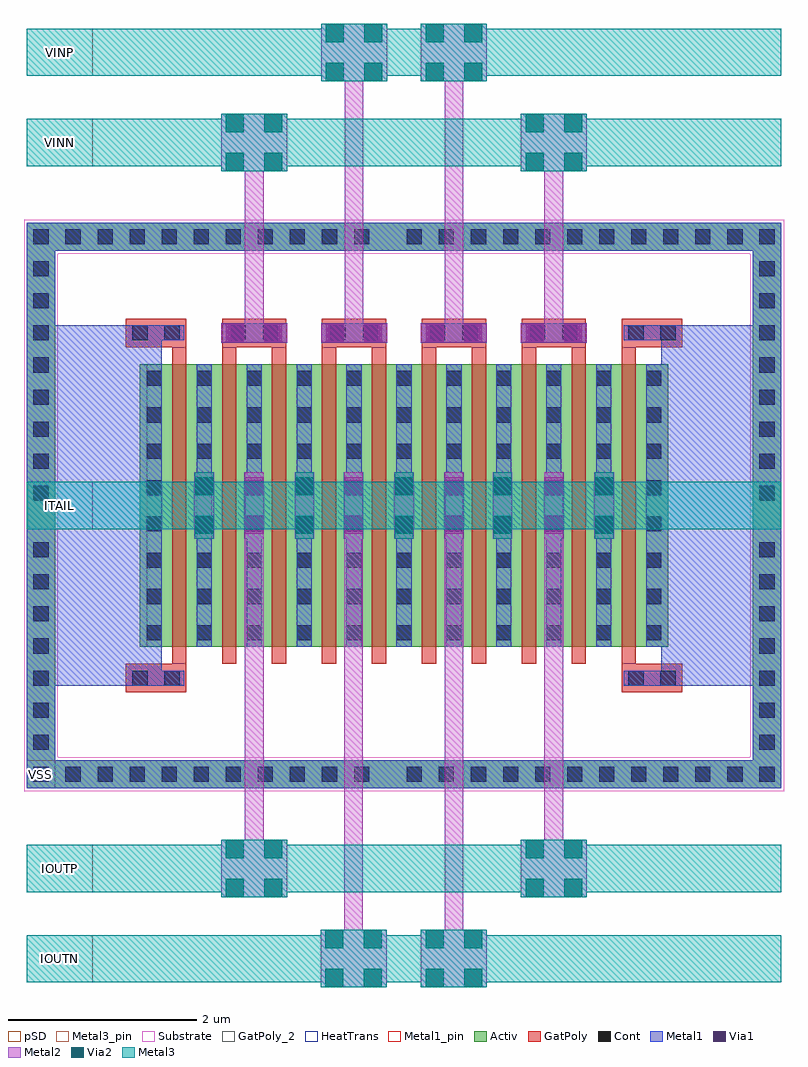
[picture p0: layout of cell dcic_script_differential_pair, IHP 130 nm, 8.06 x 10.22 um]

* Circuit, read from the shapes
.subckt dcic_script_differential_pair IOUTN IOUTP ITAIL VINN VINP VSS
XM1 ITAIL VSS VSS VSS sg13_lv_nmos w=3u l=0.15u m=2
XM2 IOUTP VINN ITAIL VSS sg13_lv_nmos w=3u l=0.15u m=4
XM3 IOUTN VINP ITAIL VSS sg13_lv_nmos w=3u l=0.15u m=4
.ends

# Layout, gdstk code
import gdstk
lib = gdstk.Library(unit=1e-6, precision=5e-09)
def R(c, l, rs):  # rectangles x0, y0, x1, y1
    for r in rs: c.add(gdstk.rectangle(r[:2], r[2:], *l))
def A(c, l, x, y, w, h, nx, ny, dx, dy):  # array of equal rectangles
    R(c, l, [(x+i*dx, y+j*dy, x+i*dx+w, y+j*dy+h) for i in range(nx) for j in range(ny)])
def P(c, l, *ps):  # polygons
    for p in ps: c.add(gdstk.Polygon(p, *l))
Activ = (1, 0)
GatPoly = (5, 0)
GatPoly_2 = (5, 2)
Cont = (6, 0)
Metal1 = (8, 0)
Metal1_pin = (8, 2)
Metal2 = (10, 0)
pSD = (14, 0)
Via1 = (19, 0)
Via2 = (29, 0)
Metal3 = (30, 0)
Metal3_pin = (30, 2)
Substrate = (40, 0)
HeatTrans = (51, 0)

nmos_1 = lib.new_cell('nmos$1')
A(nmos_1, Activ, 0, 0, 0.3, 0.3, 11, 1, 0.53, 0)
R(nmos_1, Activ, [(0,0,5.6,3)])
A(nmos_1, GatPoly, 0.34, -0.18, 0.15, 3.36, 10, 1, 0.53, 0)
R(nmos_1, GatPoly_2, [(0.34,-0.18,0.49,3.18)])
A(nmos_1, Cont, 0.07, 0.07, 0.16, 0.16, 11, 7, 0.53, 0.385)
A(nmos_1, Cont, 0.07, 2.77, 0.16, 0.16, 11, 1, 0.53, 0)
A(nmos_1, Metal1, 0.07, 0, 0.16, 3, 11, 1, 0.53, 0)
R(nmos_1, Metal1_pin, [(0.07,0,0.23,3), (0.6,0,0.76,3)])
A(nmos_1, HeatTrans, 0.34, -0.18, 0.15, 3.36, 10, 1, 0.53, 0)
nmos_1.add(gdstk.Label('nmos', (0.415,1.5), layer=63, texttype=0))
nmos_1.add(gdstk.Label('nmos', (0.415,1.5), layer=51, texttype=0))
nmos_1.add(gdstk.Label('nmos', (0.945,1.5), layer=51, texttype=0))
nmos_1.add(gdstk.Label('nmos', (1.475,1.5), layer=51, texttype=0))
nmos_1.add(gdstk.Label('nmos', (2.005,1.5), layer=51, texttype=0))
nmos_1.add(gdstk.Label('nmos', (2.535,1.5), layer=51, texttype=0))
nmos_1.add(gdstk.Label('nmos', (3.065,1.5), layer=51, texttype=0))
nmos_1.add(gdstk.Label('nmos', (3.595,1.5), layer=51, texttype=0))
nmos_1.add(gdstk.Label('nmos', (4.125,1.5), layer=51, texttype=0))
nmos_1.add(gdstk.Label('nmos', (4.655,1.5), layer=51, texttype=0))
nmos_1.add(gdstk.Label('nmos', (5.185,1.5), layer=51, texttype=0))

via_stack_1 = lib.new_cell('via_stack$1')
R(via_stack_1, GatPoly, [(-0.32,-0.15,0.32,0.15)])
R(via_stack_1, Cont, [(-0.25,-0.08,-0.09,0.08), (0.09,-0.08,0.25,0.08)])
R(via_stack_1, Metal1, [(-0.35,-0.105,0.35,0.105)])
R(via_stack_1, Metal2, [(-0.35,-0.1,0.35,0.1)])
R(via_stack_1, Via1, [(-0.3,-0.095,-0.11,0.095), (0.11,-0.095,0.3,0.095)])

via_stack = lib.new_cell('via_stack')
R(via_stack, Metal1, [(-0.105,-0.35,0.105,0.35)])
R(via_stack, Metal2, [(-0.1,-0.35,0.1,0.35)])
R(via_stack, Via1, [(-0.095,-0.3,0.095,-0.11), (-0.095,0.11,0.095,0.3)])
R(via_stack, Via2, [(-0.095,-0.3,0.095,-0.11), (-0.095,0.11,0.095,0.3)])
R(via_stack, Metal3, [(-0.1,-0.35,0.1,0.35)])

via_stack_3 = lib.new_cell('via_stack$3')
R(via_stack_3, GatPoly, [(-0.32,-0.15,0.32,0.15)])
R(via_stack_3, Cont, [(-0.25,-0.08,-0.09,0.08), (0.09,-0.08,0.25,0.08)])
R(via_stack_3, Metal1, [(-0.3,-0.08,0.3,0.08)])

via_stack_2 = lib.new_cell('via_stack$2')
R(via_stack_2, Metal1, [(-0.105,-0.35,0.105,0.35)])
R(via_stack_2, Metal2, [(-0.1,-0.35,0.1,0.35)])
R(via_stack_2, Via1, [(-0.095,-0.3,0.095,-0.11), (-0.095,0.11,0.095,0.3)])

guard_ring_1 = lib.new_cell('guard_ring$1')
R(guard_ring_1, Activ, [(-4,-2.7,-3.7,2.7), (3.7,-2.7,4,2.7), (-4,2.7,4,3)])
P(guard_ring_1, Activ, [(-4,-3),(-4,2.7),(-3.7,2.7),(-3.7,-2.7),(3.7,-2.7),(3.7,2.7),(-4,2.7),(-4,3),(4,3),(4,-3)])
A(guard_ring_1, Cont, -3.93, -2.93, 0.16, 0.16, 11, 2, 0.34, 5.7)
A(guard_ring_1, Cont, 0.03, -2.93, 0.16, 0.16, 12, 2, 0.34, 5.7)
A(guard_ring_1, Cont, -3.93, -2.59, 0.16, 0.16, 1, 7, 0, 0.34)
A(guard_ring_1, Cont, 3.77, -2.59, 0.16, 0.16, 1, 7, 0, 0.34)
A(guard_ring_1, Cont, -3.93, 0.05, 0.16, 0.16, 1, 8, 0, 0.34)
A(guard_ring_1, Cont, 3.77, 0.05, 0.16, 0.16, 1, 8, 0, 0.34)
R(guard_ring_1, Metal1, [(-4,-3,4,-2.7), (-4,-2.7,-3.7,2.7), (3.7,-2.7,4,2.7), (-4,2.7,4,3)])
R(guard_ring_1, pSD, [(-4.03,-2.67,-3.67,2.67), (3.67,-2.67,4.03,2.67), (-4.03,2.67,4.03,3.03)])
P(guard_ring_1, pSD, [(-4.03,-3.03),(-4.03,2.67),(-3.67,2.67),(-3.67,-2.67),(3.67,-2.67),(3.67,2.67),(-4.03,2.67),(-4.03,3.03),(4.03,3.03),(4.03,-3.03)])
R(guard_ring_1, Substrate, [(-4.03,-2.67,-3.67,2.67), (3.67,-2.67,4.03,2.67), (-4.03,2.67,4.03,3.03)])
P(guard_ring_1, Substrate, [(-4.03,-3.03),(-4.03,2.67),(-3.67,2.67),(-3.67,-2.67),(3.67,-2.67),(3.67,2.67),(-4.03,2.67),(-4.03,3.03),(4.03,3.03),(4.03,-3.03)])
guard_ring_1.add(gdstk.Label('sub!', (0,-2.85), layer=63, texttype=0))

via_stack_4 = lib.new_cell('via_stack$4')
R(via_stack_4, Metal2, [(-0.35,-0.305,0.35,0.305)])
R(via_stack_4, Via2, [(-0.3,-0.3,-0.11,-0.11), (0.11,-0.3,0.3,-0.11), (-0.3,0.11,-0.11,0.3), (0.11,0.11,0.3,0.3)])
R(via_stack_4, Metal3, [(-0.35,-0.305,0.35,0.305)])

dcic_script_differential = lib.new_cell('dcic_script_differential_pair')
R(dcic_script_differential, GatPoly, [(-0.25,2.695,-0.23,2.995), (0.41,2.695,0.43,2.995), (0.81,2.695,0.83,2.995), (1.47,2.695,1.49,2.995), (1.87,2.695,1.89,2.995), (2.53,2.695,2.55,2.995), (2.93,2.695,2.95,2.995), (3.59,2.695,3.61,2.995)])
R(dcic_script_differential, Metal1, [(-2.02,-0.895,-0.89,2.925), (4.41,-0.895,5.38,2.925)])
R(dcic_script_differential, Metal1_pin, [(-2.32,-1.985,-2.02,-1.685)])
R(dcic_script_differential, Metal2, [(-0.545,0.665,-0.335,1.365), (0.52,0.665,0.73,1.365), (1.575,0.665,1.785,1.365), (2.62,0.665,2.83,1.365), (3.7,0.665,3.91,1.365)])
A(dcic_script_differential, Metal3_pin, -2.32, -3.085, 0.7, 0.5, 1, 3, 0, 3.85)
R(dcic_script_differential, Metal3_pin, [(-2.32,-4.04,-1.62,-3.54), (-2.32,5.57,-1.62,6.07)])
dcic_script_differential.add(gdstk.FlexPath([(0.09,0.665),(0.09,-3.14)], 0.2, ends="flush", simple_path=True, layer=10, datatype=0))  # Metal2
dcic_script_differential.add(gdstk.FlexPath([(3.27,0.665),(3.27,-3.14)], 0.2, ends="flush", simple_path=True, layer=10, datatype=0))  # Metal2
dcic_script_differential.add(gdstk.FlexPath([(1.145,0.665),(1.145,-4.095)], 0.2, ends="flush", simple_path=True, layer=10, datatype=0))  # Metal2
dcic_script_differential.add(gdstk.FlexPath([(0.09,2.945),(0.09,5.17)], 0.2, ends="flush", simple_path=True, layer=10, datatype=0))  # Metal2
dcic_script_differential.add(gdstk.FlexPath([(3.27,2.945),(3.27,5.17)], 0.2, ends="flush", simple_path=True, layer=10, datatype=0))  # Metal2
dcic_script_differential.add(gdstk.FlexPath([(2.21,2.945),(2.21,6.125)], 0.2, ends="flush", simple_path=True, layer=10, datatype=0))  # Metal2
dcic_script_differential.add(gdstk.FlexPath([(1.15,2.945),(1.15,6.125)], 0.2, ends="flush", simple_path=True, layer=10, datatype=0))  # Metal2
dcic_script_differential.add(gdstk.FlexPath([(2.21,0.665),(2.21,-4.095)], 0.2, ends="flush", simple_path=True, layer=10, datatype=0))  # Metal2
dcic_script_differential.add(gdstk.FlexPath([(5.68,4.865),(-2.32,4.865)], 0.5, ends="flush", simple_path=True, layer=30, datatype=0))  # Metal3
dcic_script_differential.add(gdstk.FlexPath([(5.68,5.82),(-2.32,5.82)], 0.5, ends="flush", simple_path=True, layer=30, datatype=0))  # Metal3
dcic_script_differential.add(gdstk.FlexPath([(5.68,-3.79),(-2.32,-3.79)], 0.5, ends="flush", simple_path=True, layer=30, datatype=0))  # Metal3
dcic_script_differential.add(gdstk.FlexPath([(5.68,1.015),(-2.32,1.015)], 0.5, ends="flush", simple_path=True, layer=30, datatype=0))  # Metal3
dcic_script_differential.add(gdstk.FlexPath([(5.68,-2.835),(-2.32,-2.835)], 0.5, ends="flush", simple_path=True, layer=30, datatype=0))  # Metal3
dcic_script_differential.add(gdstk.Reference(nmos_1, (-1.12,-0.485)))
dcic_script_differential.add(gdstk.Reference(via_stack_1, (0.09,2.845)))
dcic_script_differential.add(gdstk.Reference(via_stack_1, (1.15,2.845)))
dcic_script_differential.add(gdstk.Reference(via_stack_1, (2.21,2.845)))
dcic_script_differential.add(gdstk.Reference(via_stack_1, (3.27,2.845)))
dcic_script_differential.add(gdstk.Reference(via_stack, (1.68,1.015)))
dcic_script_differential.add(gdstk.Reference(via_stack, (0.625,1.015)))
dcic_script_differential.add(gdstk.Reference(via_stack, (2.725,1.015)))
dcic_script_differential.add(gdstk.Reference(via_stack, (3.805,1.015)))
dcic_script_differential.add(gdstk.Reference(via_stack_3, (-0.95,2.845)))
dcic_script_differential.add(gdstk.Reference(via_stack_3, (4.31,2.845)))
dcic_script_differential.add(gdstk.Reference(via_stack, (-0.44,1.015)))
dcic_script_differential.add(gdstk.Reference(via_stack_3, (-0.95,-0.815)))
dcic_script_differential.add(gdstk.Reference(via_stack_3, (4.31,-0.815)))
dcic_script_differential.add(gdstk.Reference(via_stack_2, (0.09,1.015)))
dcic_script_differential.add(gdstk.Reference(via_stack_2, (1.145,1.015)))
dcic_script_differential.add(gdstk.Reference(via_stack_2, (2.21,1.015)))
dcic_script_differential.add(gdstk.Reference(via_stack_2, (3.27,1.015)))
dcic_script_differential.add(gdstk.Reference(guard_ring_1, (1.68,1.015)))
dcic_script_differential.add(gdstk.Reference(via_stack_4, (0.09,4.865)))
dcic_script_differential.add(gdstk.Reference(via_stack_4, (3.27,4.865)))
dcic_script_differential.add(gdstk.Reference(via_stack_4, (2.21,5.82)))
dcic_script_differential.add(gdstk.Reference(via_stack_4, (1.15,5.82)))
dcic_script_differential.add(gdstk.Reference(via_stack_4, (1.145,-3.79)))
dcic_script_differential.add(gdstk.Reference(via_stack_4, (2.21,-3.79)))
dcic_script_differential.add(gdstk.Reference(via_stack_4, (0.09,-2.835)))
dcic_script_differential.add(gdstk.Reference(via_stack_4, (3.27,-2.835)))
dcic_script_differential.add(gdstk.Label('VINP', (-1.97,5.82), layer=30, texttype=25))
dcic_script_differential.add(gdstk.Label('VINN', (-1.97,4.865), layer=30, texttype=25))
dcic_script_differential.add(gdstk.Label('IOUTP', (-1.97,-2.835), layer=30, texttype=25))
dcic_script_differential.add(gdstk.Label('IOUTN', (-1.97,-3.79), layer=30, texttype=25))
dcic_script_differential.add(gdstk.Label('ITAIL', (-1.97,1.015), layer=30, texttype=25))
dcic_script_differential.add(gdstk.Label('VSS', (-2.17,-1.835), layer=8, texttype=25))

lib.write_gds('dcic_script_differential_pair.gds')
